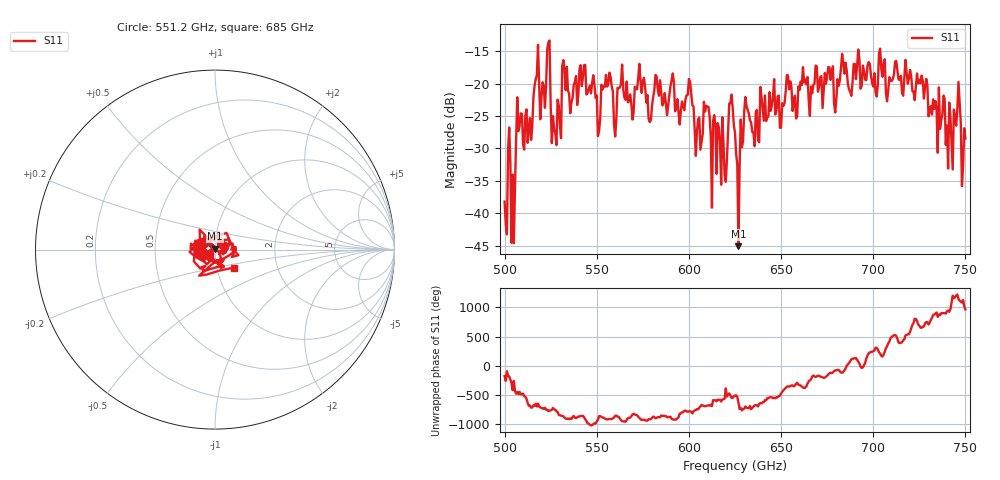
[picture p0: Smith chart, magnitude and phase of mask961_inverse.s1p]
!Created with skrf (http://scikit-rf.org).
# GHz S MA R 50.0
!freq magS11 angS11
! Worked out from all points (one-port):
!   401 points, 500 GHz to 750 GHz, reference 50 ohm
!   lowest |S11| = -45.1 dB at 626.9 GHz (marker M1), VSWR 1.01, Z = 50 + j0.556 ohm
!   |S11| at or under -10 dB: start of sweep to end of sweep
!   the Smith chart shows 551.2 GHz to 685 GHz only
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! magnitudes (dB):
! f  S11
! 500 GHz  -38.2
! 503.1 GHz  -32.2
! 505 GHz  -44.6
! 508.1 GHz  -26.5
! 513.8 GHz  -25.3
! 517.5 GHz  -18.7
! 520.6 GHz  -19.8
! 523.8 GHz  -13.6
! 526.9 GHz  -27.1
! 531.2 GHz  -17.3
! 542.5 GHz  -18.9
! 550.6 GHz  -28.1
! 562.5 GHz  -20.6
! 593.8 GHz  -22.4
! 600 GHz  -19.3
! 605 GHz  -25.5
! 609.4 GHz  -23.4
! 618.8 GHz  -29.2
! 622.5 GHz  -23.0
! 625 GHz  -27.6
! 626.9 GHz  -45.1
! 631.2 GHz  -23.5
! 656.2 GHz  -24.2
! 687.5 GHz  -21.3
! 718.8 GHz  -20.0
! 741.9 GHz  -25.1
! 746.2 GHz  -19.7
! 750 GHz  -28.5
